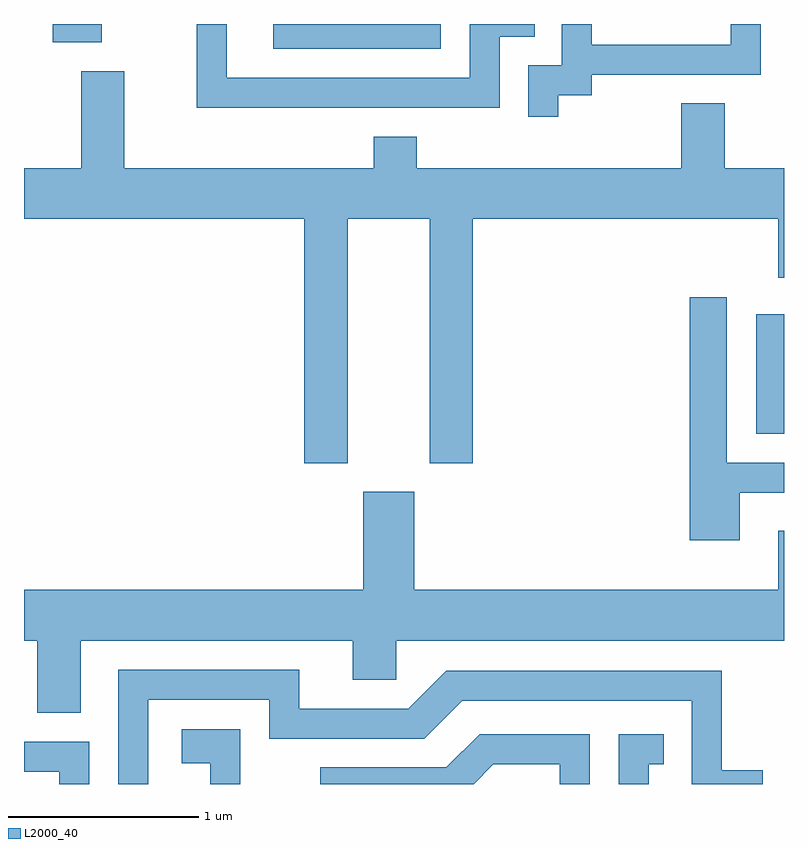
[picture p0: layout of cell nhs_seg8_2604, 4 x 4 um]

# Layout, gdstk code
import gdstk
lib = gdstk.Library(unit=1e-6, precision=1e-09)
def R(c, l, rs):  # rectangles x0, y0, x1, y1
    for r in rs: c.add(gdstk.rectangle(r[:2], r[2:], *l))
def P(c, l, *ps):  # polygons
    for p in ps: c.add(gdstk.Polygon(p, *l))
L2000_40 = (2000, 40)

nhs_seg8_2604 = lib.new_cell('nhs_seg8_2604')
R(nhs_seg8_2604, L2000_40, [(267.466,1824.186,267.611,1824.814), (264.923,1826.211,265.804,1826.342), (263.761,1826.246,264.019,1826.342)])
P(nhs_seg8_2604, L2000_40, [(266.114,1826.276),(266.298,1826.276),(266.298,1826.342),(265.956,1826.342),(265.956,1826.059),(264.679,1826.059),(264.679,1826.342),(264.521,1826.342),(264.521,1825.901),(266.114,1825.901)],
  [(266.424,1825.966),(266.599,1825.966),(266.599,1826.076),(267.489,1826.076),(267.489,1826.342),(267.331,1826.342),(267.331,1826.234),(266.599,1826.234),(266.599,1826.342),(266.441,1826.342),(266.441,1826.124),(266.266,1826.124),(266.266,1825.853),(266.424,1825.853)],
  [(265.314,1825.316),(265.746,1825.316),(265.746,1824.031),(265.974,1824.031),(265.974,1825.316),(267.581,1825.316),(267.581,1825.006),(267.611,1825.006),(267.611,1825.584),(267.299,1825.584),(267.299,1825.924),(267.071,1825.924),(267.071,1825.584),(265.679,1825.584),(265.679,1825.749),(265.451,1825.749),(265.451,1825.584),(264.139,1825.584),(264.139,1826.094),(263.911,1826.094),(263.911,1825.584),(263.611,1825.584),(263.611,1825.316),(265.086,1825.316),(265.086,1824.031),(265.314,1824.031)],
  [(267.379,1823.876),(267.611,1823.876),(267.611,1824.034),(267.309,1824.034),(267.309,1824.904),(267.116,1824.904),(267.116,1823.626),(267.379,1823.626)],
  [(263.909,1823.096),(265.341,1823.096),(265.341,1822.891),(265.569,1822.891),(265.569,1823.096),(267.611,1823.096),(267.611,1823.674),(267.581,1823.674),(267.581,1823.364),(265.664,1823.364),(265.664,1823.879),(265.396,1823.879),(265.396,1823.364),(263.611,1823.364),(263.611,1823.096),(263.681,1823.096),(263.681,1822.716),(263.909,1822.716)],
  [(264.264,1822.786),(264.901,1822.786),(264.901,1822.581),(265.717,1822.581),(265.917,1822.781),(267.126,1822.781),(267.126,1822.342),(267.499,1822.342),(267.499,1822.414),(267.284,1822.414),(267.284,1822.939),(265.834,1822.939),(265.634,1822.739),(265.059,1822.739),(265.059,1822.944),(264.106,1822.944),(264.106,1822.342),(264.264,1822.342)],
  [(264.749,1822.629),(264.441,1822.629),(264.441,1822.451),(264.591,1822.451),(264.591,1822.342),(264.749,1822.342)],
  [(266.082,1822.446),(266.431,1822.446),(266.431,1822.342),(266.589,1822.342),(266.589,1822.604),(266.009,1822.604),(265.834,1822.429),(265.171,1822.429),(265.171,1822.342),(265.978,1822.342)],
  [(266.899,1822.446),(266.978,1822.446),(266.978,1822.604),(266.741,1822.604),(266.741,1822.342),(266.899,1822.342)],
  [(263.954,1822.564),(263.611,1822.564),(263.611,1822.406),(263.796,1822.406),(263.796,1822.342),(263.954,1822.342)])

lib.write_gds('nhs_seg8_2604.gds')
